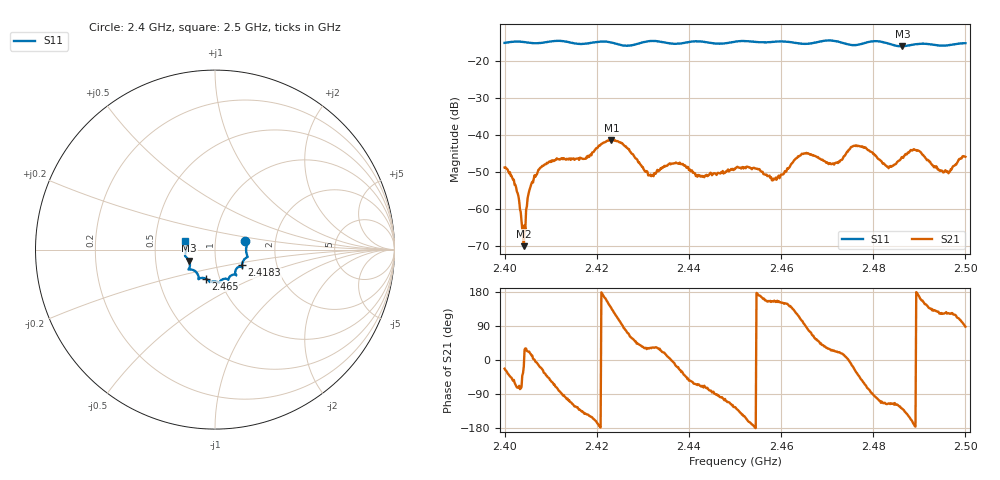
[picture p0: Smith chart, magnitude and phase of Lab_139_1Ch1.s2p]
# Hz S RI R 50
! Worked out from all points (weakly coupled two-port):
!   601 points, 2.4 GHz to 2.5 GHz, reference 50 ohm
!   highest |S21| = -41.35 dB at 2.4232 GHz (marker M1); lowest = -70.1 dB at 2.4042 GHz (marker M2)
!   lowest |S11| = -16.1 dB at 2.4863 GHz (marker M3), VSWR 1.37, Z = 37.1 - j4.69 ohm
!   |S11| at or under -10 dB: start of sweep to end of sweep
!   S12 and S22 are empty: the file has one direction only
!   S11 on the Smith chart (normalised r, x): 2.4 GHz: 1.40, +0.14; 2.4183 GHz: 1.33, -0.24; 2.465 GHz: 0.86, -0.28; 2.5 GHz: 0.71, +0.07
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2.4e9  0.1687 0.0472  0.00333 -0.00141  0 0  0 0
2.4025e9  0.1787 0.0354  0.000707 -0.00181  0 0  0 0
2.404167e9  0.1778 0.0261  0.0003 -8.98e-05  0 0  0 0
2.4055e9  0.1745 0.014  0.00178 0.000582  0 0  0 0
2.407667e9  0.1738 -0.0117  0.00337 -0.00114  0 0  0 0
2.416667e9  0.1547 -0.0681  -0.00342 -0.00339  0 0  0 0
2.418333e9  0.1501 -0.0868  -0.00421 -0.00274  0 0  0 0
2.423167e9  0.1488 -0.0964  -0.00626 0.00584  0 0  0 0
2.4315e9  0.118 -0.1426  0.00241 0.00149  0 0  0 0
2.433333e9  0.1175 -0.1409  0.00277 0.00164  0 0  0 0
2.437e9  0.0907 -0.1436  0.00403 -0.000904  0 0  0 0
2.45e9  0.0261 -0.1799  -0.00193 -0.00285  0 0  0 0
2.4585e9  -0.0204 -0.1799  -0.00229 0.000989  0 0  0 0
2.465e9  -0.0525 -0.1613  -0.000514 0.0056  0 0  0 0
2.466667e9  -0.0712 -0.1576  0.00207 0.00496  0 0  0 0
2.471333e9  -0.0909 -0.1638  0.00375 0.00167  0 0  0 0
2.476833e9  -0.1197 -0.1145  0.00532 -0.00466  0 0  0 0
2.483333e9  -0.141 -0.0966  -0.00148 -0.00322  0 0  0 0
2.486333e9  -0.1446 -0.0616  -0.00316 -0.00387  0 0  0 0
2.489333e9  -0.1638 -0.0395  -0.00623 9.42e-05  0 0  0 0
2.495833e9  -0.1606 0.0139  -0.0019 0.00259  0 0  0 0
2.5e9  -0.1667 0.0467  0.000185 0.00505  0 0  0 0
